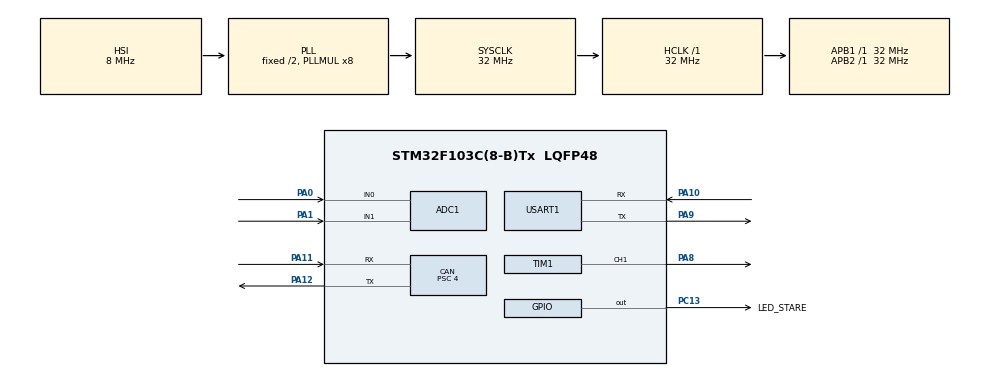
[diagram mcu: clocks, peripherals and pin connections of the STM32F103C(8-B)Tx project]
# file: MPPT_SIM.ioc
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ADC1.Channel-0\#ChannelRegularConversion=ADC_CHANNEL_0
ADC1.Channel-1\#ChannelRegularConversion=ADC_CHANNEL_0
ADC1.ContinuousConvMode=ENABLE
ADC1.NbrOfConversion=2
ADC1.NbrOfConversionFlag=1
ADC1.Rank-0\#ChannelRegularConversion=1
ADC1.Rank-1\#ChannelRegularConversion=2
ADC1.SamplingTime-0\#ChannelRegularConversion=ADC_SAMPLETIME_1CYCLE_5
ADC1.SamplingTime-1\#ChannelRegularConversion=ADC_SAMPLETIME_1CYCLE_5
ADC1.master=1
CAN.BS1=CAN_BS1_13TQ
CAN.BS2=CAN_BS2_2TQ
CAN.CalculateBaudRate=500000
CAN.CalculateTimeBit=2000
CAN.CalculateTimeQuantum=125.0
CAN.Prescaler=4
Dma.ADC1.0.Direction=DMA_PERIPH_TO_MEMORY
Dma.ADC1.0.Instance=DMA1_Channel1
Dma.ADC1.0.MemDataAlignment=DMA_MDATAALIGN_HALFWORD
Dma.ADC1.0.MemInc=DMA_MINC_ENABLE
Dma.ADC1.0.Mode=DMA_CIRCULAR
Dma.ADC1.0.PeriphDataAlignment=DMA_PDATAALIGN_HALFWORD
Dma.ADC1.0.PeriphInc=DMA_PINC_DISABLE
Dma.ADC1.0.Priority=DMA_PRIORITY_LOW
Dma.Request0=ADC1
Mcu.Family=STM32F1
Mcu.Name=STM32F103C(8-B)Tx
Mcu.Package=LQFP48
NVIC.PriorityGroup=NVIC_PRIORITYGROUP_4
NVIC.TIM2_IRQn=true\:0\:0\:false\:false\:true\:true\:true\:true
PA0-WKUP.Signal=ADCx_IN0
PA1.Signal=ADCx_IN1
PA10.Mode=Asynchronous
PA10.Signal=USART1_RX
PA11.Mode=CAN_Activate
PA11.Signal=CAN_RX
PA12.Mode=CAN_Activate
PA12.Signal=CAN_TX
PA13.Mode=Serial_Wire
PA13.Signal=SYS_JTMS-SWDIO
PA14.Mode=Serial_Wire
PA14.Signal=SYS_JTCK-SWCLK
PA8.Signal=S_TIM1_CH1
PA9.Mode=Asynchronous
PA9.Signal=USART1_TX
PC13-TAMPER-RTC.GPIO_Label=LED_STARE
PC13-TAMPER-RTC.Signal=GPIO_Output
ProjectManager.HeapSize=0x200
ProjectManager.StackSize=0x1000
ProjectManager.TargetToolchain=STM32CubeIDE
RCC.ADCPresc=RCC_ADCPCLK2_DIV4
RCC.AHBFreq_Value=32000000
RCC.APB1Freq_Value=32000000
RCC.APB1TimFreq_Value=32000000
RCC.APB2Freq_Value=32000000
RCC.APB2TimFreq_Value=32000000
RCC.HCLKFreq_Value=32000000
RCC.PLLMUL=RCC_PLL_MUL8
RCC.SYSCLKFreq_VALUE=32000000
RCC.SYSCLKSource=RCC_SYSCLKSOURCE_PLLCLK
RCC.USBFreq_Value=32000000
SH.ADCx_IN0.0=ADC1_IN0,IN0
SH.ADCx_IN1.0=ADC1_IN1,IN1
SH.S_TIM1_CH1.0=TIM1_CH1,PWM Generation1 CH1
TIM1.Channel-PWM\ Generation1\ CH1=TIM_CHANNEL_1
TIM1.Period=719
TIM1.Pulse-PWM\ Generation1\ CH1=360
TIM2.Period=499
TIM2.Prescaler=7199
USART1.VirtualMode=VM_ASYNC
VP_TIM1_VS_ClockSourceINT.Mode=Internal
VP_TIM2_VS_ClockSourceINT.Mode=Internal
board=custom

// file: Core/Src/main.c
/* USER CODE BEGIN Header */
/**
  ******************************************************************************
  * @file           : main.c
  * @brief          : MPPT Controller - STM32F103C8
  *                   Structura identica cu MOTOR_C_SIM (pedala)
  *                   Timer 20ms, CAN TX pe 0x630 si 0x631
  ******************************************************************************
  */
/* USER CODE END Header */

#include "main.h"

/* USER CODE BEGIN Includes */
#include <stdio.h>
#include <stdbool.h>
/* USER CODE END Includes */

/* USER CODE BEGIN PD */
#define PWM_MIN          50
#define PWM_MAX          680
#define V_MAX_CRITIC     30.0f
#define I_MAX_CRITIC     20.0f
#define V_DIVIDER_RATIO  11.0f
#define I_SENSITIVITY    0.066f
#define I_OFFSET         1.65f
/* USER CODE END PD */

ADC_HandleTypeDef  hadc1;
DMA_HandleTypeDef  hdma_adc1;
CAN_HandleTypeDef  hcan;
TIM_HandleTypeDef  htim1;
TIM_HandleTypeDef  htim2;
UART_HandleTypeDef huart1;

/* USER CODE BEGIN PV */
uint16_t          adc_buffer[2];
volatile float    V_panou        = 0.0f;
volatile float    I_panou        = 0.0f;
volatile float    P_panou        = 0.0f;
float             V_veche        = 0.0f;
float             P_veche        = 0.0f;
volatile uint16_t pwm_value      = 350;
volatile uint8_t  mppt_status_code = 0;   // 0=OK, 1=OV, 2=OC
uint8_t           TxData[8];
char              uart_buf[128];
volatile bool     timer_20ms_flag = 0;    // identic cu pedala
/* USER CODE END PV */

void SystemClock_Config(void);
static void MX_GPIO_Init(void);
static void MX_DMA_Init(void);
static void MX_ADC1_Init(void);
static void MX_TIM1_Init(void);
static void MX_TIM2_Init(void);
static void MX_CAN_Init(void);
static void MX_USART1_UART_Init(void);

/* USER CODE BEGIN PFP */
void CAN_TX(uint32_t StdId, uint32_t DLC, const uint8_t *Data);
static void MPPT_Process(void);
static void MPPT_Pack_0x630(uint8_t *buf);
static void MPPT_Pack_0x631(uint8_t *buf);
/* USER CODE END PFP */

/* USER CODE BEGIN 0 */

/**
 * @brief CAN TX — identic cu pedala, Error_Handler comentat
 */
void CAN_TX(uint32_t StdId, uint32_t DLC, const uint8_t *Data) {
    CAN_TxHeaderTypeDef txheader;
    uint32_t txmailbox;
    txheader.DLC                = DLC;
    txheader.StdId              = StdId;
    txheader.IDE                = CAN_ID_STD;
    txheader.RTR                = CAN_RTR_DATA;
    txheader.TransmitGlobalTime = DISABLE;
    if (HAL_CAN_AddTxMessage(&hcan, &txheader, Data, &txmailbox) != HAL_OK) {
        // Error_Handler(); // Comentat: previne blocarea daca VCU nu e inca pornit
    }
}

/**
 * @brief Proceseaza ADC, protectii si P&O
 */
static void MPPT_Process(void) {
    V_panou = ((float)adc_buffer[0] * (3.3f / 4095.0f)) * V_DIVIDER_RATIO;
    I_panou = (((float)adc_buffer[1] * (3.3f / 4095.0f)) - I_OFFSET) / I_SENSITIVITY;
    if (I_panou < 0.0f) I_panou = 0.0f;
    P_panou = V_panou * I_panou;

    static uint8_t error_count = 0;

    if (V_panou > V_MAX_CRITIC) {
        mppt_status_code = 1;
        pwm_value = PWM_MIN;
        error_count = 0;
    } else if (I_panou > I_MAX_CRITIC) {
        if (++error_count > 5) {
            mppt_status_code = 2;
            pwm_value = PWM_MIN;
        }
    } else {
        mppt_status_code = 0;
        error_count = 0;
        if (P_panou < 0.1f) {
            pwm_value++;
        } else {
            float deltaP = P_panou - P_veche;
            float deltaV = V_panou - V_veche;
            if      (deltaP >  0.1f) { if (deltaV >= 0.0f) pwm_value--; else pwm_value++; }
            else if (deltaP < -0.1f) { if (deltaV >= 0.0f) pwm_value++; else pwm_value--; }
        }
    }

    if (pwm_value < PWM_MIN) pwm_value = PWM_MIN;
    if (pwm_value > PWM_MAX) pwm_value = PWM_MAX;
    __HAL_TIM_SET_COMPARE(&htim1, TIM_CHANNEL_1, pwm_value);

    V_veche = V_panou;
    P_veche = P_panou;
}

/**
 * @brief CAN 0x630 — date principale MPPT catre VCU (4 bytes)
 *   [0] = V * 10   (ex: 245 = 24.5V)
 *   [1] = I * 10   (ex:  85 =  8.5A)
 *   [2] = P / 2    (ex: 104 = 208W)
 *   [3] = status   (0=OK, 1=OV, 2=OC)
 */
static void MPPT_Pack_0x630(uint8_t *buf) {
	uint16_t v10 = (uint16_t)(V_panou * 10.0f);
	uint16_t i10 = (uint16_t)(I_panou * 10.0f);

	buf[0] = (uint8_t)(v10 >> 8);   // Tensiune High Byte
	buf[1] = (uint8_t)(v10 & 0xFF); // Tensiune Low Byte
	buf[2] = (uint8_t)(i10 >> 8);   // Curent High Byte
	buf[3] = (uint8_t)(i10 & 0xFF); // Curent Low Byte
	buf[4] = mppt_status_code;
}

/**
 * @brief CAN 0x631 — date extinse MPPT (4 bytes, rezolutie mai mare)
 *   [0-1] = V * 100 uint16 big-endian (ex: 2450 = 24.50V)
 *   [2-3] = I * 100 uint16 big-endian (ex:  850 =  8.50A)
 */
static void MPPT_Pack_0x631(uint8_t *buf) {
    uint16_t v100 = (uint16_t)(V_panou * 100.0f);
    uint16_t i100 = (uint16_t)(I_panou * 100.0f);
    buf[0] = (v100 >> 8) & 0xFF;
    buf[1] =  v100       & 0xFF;
    buf[2] = (i100 >> 8) & 0xFF;
    buf[3] =  i100       & 0xFF;
}

/**
 * @brief Callback Timer — identic cu pedala
 */
void HAL_TIM_PeriodElapsedCallback(TIM_HandleTypeDef *htim) {
    if (htim->Instance == TIM2) {
        timer_20ms_flag = 1;
    }
}

/* USER CODE END 0 */

/* ============================================================
 * MAIN
 * ============================================================ */
int main(void)
{
    HAL_Init();
    SystemClock_Config();
    MX_GPIO_Init();
    MX_DMA_Init();
    MX_ADC1_Init();
    MX_TIM1_Init();
    MX_TIM2_Init();
    MX_CAN_Init();
    MX_USART1_UART_Init();

    /* USER CODE BEGIN 2 */

    // 1. Filtru CAN
    CAN_FilterTypeDef sf = {0};
    sf.FilterBank           = 0;
    sf.FilterMode           = CAN_FILTERMODE_IDMASK;
    sf.FilterScale          = CAN_FILTERSCALE_32BIT;
    sf.FilterIdHigh         = 0x0000;
    sf.FilterIdLow          = 0x0000;
    sf.FilterMaskIdHigh     = 0x0000;
    sf.FilterMaskIdLow      = 0x0000;
    sf.FilterFIFOAssignment = CAN_RX_FIFO0;
    sf.FilterActivation     = ENABLE;
    HAL_CAN_ConfigFilter(&hcan, &sf);

    // 2. Pornire CAN — Start INAINTE de ActivateNotification (identic pedala)
    if (HAL_CAN_Start(&hcan) != HAL_OK) {
        Error_Handler();
    }
    HAL_CAN_ActivateNotification(&hcan, CAN_IT_RX_FIFO0_MSG_PENDING);

    // 3. ADC + DMA
    HAL_ADCEx_Calibration_Start(&hadc1);
    HAL_ADC_Start_DMA(&hadc1, (uint32_t*)adc_buffer, 2);

    // 4. PWM
    HAL_TIM_PWM_Start(&htim1, TIM_CHANNEL_1);
    __HAL_TIM_SET_COMPARE(&htim1, TIM_CHANNEL_1, pwm_value);

    // 5. Timer 20ms
    HAL_TIM_Base_Start_IT(&htim2);

    // 6. Boot UART
    const char *boot = "\r\n=== MPPT BOOT OK ===\r\n";
    HAL_UART_Transmit(&huart1, (uint8_t*)boot, 24, 100);

    // Contoare timp — identic cu pedala
    uint8_t tick_100ms = 0;
    uint8_t tick_500ms = 0;

    /* USER CODE END 2 */

    /* ============================================================
     * WHILE(1) — structura identica cu pedala
     * ============================================================ */
    while (1)
    {
        if (timer_20ms_flag == 1) {

            // 1. Proceseaza MPPT (ADC + protectii + P&O + PWM)
            MPPT_Process();

            // 2. Incrementare contoare
            tick_100ms++;
            tick_500ms++;

            // --- 100ms: CAN 0x630 catre VCU ---
            if (tick_100ms >= 5) {
                MPPT_Pack_0x630(TxData);
                CAN_TX(0x630, 8, TxData);
                HAL_GPIO_TogglePin(LED_STARE_GPIO_Port, LED_STARE_Pin);
                tick_100ms = 0;
            }

            // --- 500ms: CAN 0x631 + UART catre PuTTY ---
            if (tick_500ms >= 25) {
                MPPT_Pack_0x631(TxData);
                CAN_TX(0x631, 4, TxData);

                int len = snprintf(uart_buf, sizeof(uart_buf),
                    "V:%.2f I:%.2f P:%.2f PWM:%d ST:%d\r\n",
                    V_panou, I_panou, P_panou,
                    pwm_value, mppt_status_code);
                HAL_UART_Transmit(&huart1, (uint8_t*)uart_buf, len, 10);

                tick_500ms = 0;
            }

            // 3. Reset flag
            timer_20ms_flag = 0;
        }
    }
}

/* ============================================================
 * INITIALIZARI PERIFERICE
 * ============================================================ */

void SystemClock_Config(void) {
    RCC_OscInitTypeDef RCC_OscInitStruct   = {0};
    RCC_ClkInitTypeDef RCC_ClkInitStruct   = {0};
    RCC_PeriphCLKInitTypeDef PeriphClkInit = {0};
    RCC_OscInitStruct.OscillatorType      = RCC_OSCILLATORTYPE_HSI;
    RCC_OscInitStruct.HSIState            = RCC_HSI_ON;
    RCC_OscInitStruct.HSICalibrationValue = RCC_HSICALIBRATION_DEFAULT;
    RCC_OscInitStruct.PLL.PLLState        = RCC_PLL_ON;
    RCC_OscInitStruct.PLL.PLLSource       = RCC_PLLSOURCE_HSI_DIV2;
    RCC_OscInitStruct.PLL.PLLMUL          = RCC_PLL_MUL8;
    if (HAL_RCC_OscConfig(&RCC_OscInitStruct) != HAL_OK) Error_Handler();
    RCC_ClkInitStruct.ClockType      = RCC_CLOCKTYPE_HCLK | RCC_CLOCKTYPE_SYSCLK
                                     | RCC_CLOCKTYPE_PCLK1 | RCC_CLOCKTYPE_PCLK2;
    RCC_ClkInitStruct.SYSCLKSource   = RCC_SYSCLKSOURCE_PLLCLK;
    RCC_ClkInitStruct.AHBCLKDivider  = RCC_SYSCLK_DIV1;
    RCC_ClkInitStruct.APB1CLKDivider = RCC_HCLK_DIV1;
    RCC_ClkInitStruct.APB2CLKDivider = RCC_HCLK_DIV1;
    if (HAL_RCC_ClockConfig(&RCC_ClkInitStruct, FLASH_LATENCY_1) != HAL_OK) Error_Handler();
    PeriphClkInit.PeriphClockSelection = RCC_PERIPHCLK_ADC;
    PeriphClkInit.AdcClockSelection    = RCC_ADCPCLK2_DIV4;
    if (HAL_RCCEx_PeriphCLKConfig(&PeriphClkInit) != HAL_OK) Error_Handler();
}

static void MX_ADC1_Init(void) {
    ADC_ChannelConfTypeDef sConfig = {0};
    hadc1.Instance                   = ADC1;
    hadc1.Init.ScanConvMode          = ADC_SCAN_ENABLE;
    hadc1.Init.ContinuousConvMode    = ENABLE;
    hadc1.Init.DiscontinuousConvMode = DISABLE;
    hadc1.Init.ExternalTrigConv      = ADC_SOFTWARE_START;
    hadc1.Init.DataAlign             = ADC_DATAALIGN_RIGHT;
    hadc1.Init.NbrOfConversion       = 2;
    if (HAL_ADC_Init(&hadc1) != HAL_OK) Error_Handler();
    sConfig.Channel      = ADC_CHANNEL_0;
    sConfig.Rank         = ADC_REGULAR_RANK_1;
    sConfig.SamplingTime = ADC_SAMPLETIME_55CYCLES_5;
    if (HAL_ADC_ConfigChannel(&hadc1, &sConfig) != HAL_OK) Error_Handler();
    sConfig.Channel      = ADC_CHANNEL_1;
    sConfig.Rank         = ADC_REGULAR_RANK_2;
    if (HAL_ADC_ConfigChannel(&hadc1, &sConfig) != HAL_OK) Error_Handler();
}

static void MX_CAN_Init(void) {
    hcan.Instance                  = CAN1;
    hcan.Init.Prescaler            = 4;
    hcan.Init.Mode                 = CAN_MODE_NORMAL;
    hcan.Init.SyncJumpWidth        = CAN_SJW_1TQ;
    hcan.Init.TimeSeg1             = CAN_BS1_13TQ; // 32MHz/4/(1+13+2) = 500kbps
    hcan.Init.TimeSeg2             = CAN_BS2_2TQ;
    hcan.Init.TimeTriggeredMode    = DISABLE;
    hcan.Init.AutoBusOff           = DISABLE;
    hcan.Init.AutoWakeUp           = DISABLE;
    hcan.Init.AutoRetransmission   = DISABLE;
    hcan.Init.ReceiveFifoLocked    = DISABLE;
    hcan.Init.TransmitFifoPriority = DISABLE;
    if (HAL_CAN_Init(&hcan) != HAL_OK) Error_Handler();
}

static void MX_TIM1_Init(void) {
    TIM_OC_InitTypeDef sConfigOC                  = {0};
    TIM_MasterConfigTypeDef sMasterConfig         = {0};
    TIM_BreakDeadTimeConfigTypeDef sBreakDeadTime = {0};
    htim1.Instance               = TIM1;
    htim1.Init.Prescaler         = 0;
    htim1.Init.CounterMode       = TIM_COUNTERMODE_UP;
    htim1.Init.Period            = 719;
    htim1.Init.ClockDivision     = TIM_CLOCKDIVISION_DIV1;
    htim1.Init.RepetitionCounter = 0;
    htim1.Init.AutoReloadPreload = TIM_AUTORELOAD_PRELOAD_DISABLE;
    if (HAL_TIM_PWM_Init(&htim1) != HAL_OK) Error_Handler();
    sMasterConfig.MasterOutputTrigger = TIM_TRGO_RESET;
    sMasterConfig.MasterSlaveMode     = TIM_MASTERSLAVEMODE_DISABLE;
    if (HAL_TIMEx_MasterConfigSynchronization(&htim1, &sMasterConfig) != HAL_OK) Error_Handler();
    sConfigOC.OCMode       = TIM_OCMODE_PWM1;
    sConfigOC.Pulse        = 350;
    sConfigOC.OCPolarity   = TIM_OCPOLARITY_HIGH;
    sConfigOC.OCNPolarity  = TIM_OCNPOLARITY_HIGH;
    sConfigOC.OCFastMode   = TIM_OCFAST_DISABLE;
    sConfigOC.OCIdleState  = TIM_OCIDLESTATE_RESET;
    sConfigOC.OCNIdleState = TIM_OCNIDLESTATE_RESET;
    if (HAL_TIM_PWM_ConfigChannel(&htim1, &sConfigOC, TIM_CHANNEL_1) != HAL_OK) Error_Handler();
    sBreakDeadTime.OffStateRunMode  = TIM_OSSR_DISABLE;
    sBreakDeadTime.OffStateIDLEMode = TIM_OSSI_DISABLE;
    sBreakDeadTime.LockLevel        = TIM_LOCKLEVEL_OFF;
    sBreakDeadTime.DeadTime         = 0;
    sBreakDeadTime.BreakState       = TIM_BREAK_DISABLE;
    sBreakDeadTime.BreakPolarity    = TIM_BREAKPOLARITY_HIGH;
    sBreakDeadTime.AutomaticOutput  = TIM_AUTOMATICOUTPUT_DISABLE;
    if (HAL_TIMEx_ConfigBreakDeadTime(&htim1, &sBreakDeadTime) != HAL_OK) Error_Handler();
    HAL_TIM_MspPostInit(&htim1);
}

static void MX_TIM2_Init(void) {
    TIM_ClockConfigTypeDef  sClockSourceConfig = {0};
    TIM_MasterConfigTypeDef sMasterConfig      = {0};
    htim2.Instance               = TIM2;
    htim2.Init.Prescaler         = 319;   // 32MHz / 320 = 100kHz
    htim2.Init.CounterMode       = TIM_COUNTERMODE_UP;
    htim2.Init.Period            = 1999;  // 100kHz / 2000 = 50Hz = 20ms
    htim2.Init.ClockDivision     = TIM_CLOCKDIVISION_DIV1;
    htim2.Init.AutoReloadPreload = TIM_AUTORELOAD_PRELOAD_DISABLE;
    if (HAL_TIM_Base_Init(&htim2) != HAL_OK) Error_Handler();
    sClockSourceConfig.ClockSource = TIM_CLOCKSOURCE_INTERNAL;
    if (HAL_TIM_ConfigClockSource(&htim2, &sClockSourceConfig) != HAL_OK) Error_Handler();
    sMasterConfig.MasterOutputTrigger = TIM_TRGO_RESET;
    sMasterConfig.MasterSlaveMode     = TIM_MASTERSLAVEMODE_DISABLE;
    if (HAL_TIMEx_MasterConfigSynchronization(&htim2, &sMasterConfig) != HAL_OK) Error_Handler();
}

static void MX_USART1_UART_Init(void) {
    huart1.Instance          = USART1;
    huart1.Init.BaudRate     = 115200;
    huart1.Init.WordLength   = UART_WORDLENGTH_8B;
    huart1.Init.StopBits     = UART_STOPBITS_1;
    huart1.Init.Parity       = UART_PARITY_NONE;
    huart1.Init.Mode         = UART_MODE_TX_RX;
    huart1.Init.HwFlowCtl    = UART_HWCONTROL_NONE;
    huart1.Init.OverSampling = UART_OVERSAMPLING_16;
    if (HAL_UART_Init(&huart1) != HAL_OK) Error_Handler();
}

static void MX_DMA_Init(void) {
    __HAL_RCC_DMA1_CLK_ENABLE();
}

static void MX_GPIO_Init(void) {
    GPIO_InitTypeDef GPIO_InitStruct = {0};
    __HAL_RCC_GPIOC_CLK_ENABLE();
    __HAL_RCC_GPIOA_CLK_ENABLE();
    HAL_GPIO_WritePin(LED_STARE_GPIO_Port, LED_STARE_Pin, GPIO_PIN_SET);
    GPIO_InitStruct.Pin   = LED_STARE_Pin;
    GPIO_InitStruct.Mode  = GPIO_MODE_OUTPUT_PP;
    GPIO_InitStruct.Pull  = GPIO_NOPULL;
    GPIO_InitStruct.Speed = GPIO_SPEED_FREQ_LOW;
    HAL_GPIO_Init(LED_STARE_GPIO_Port, &GPIO_InitStruct);
}

void Error_Handler(void) {
    __disable_irq();
    while (1) {}
}
